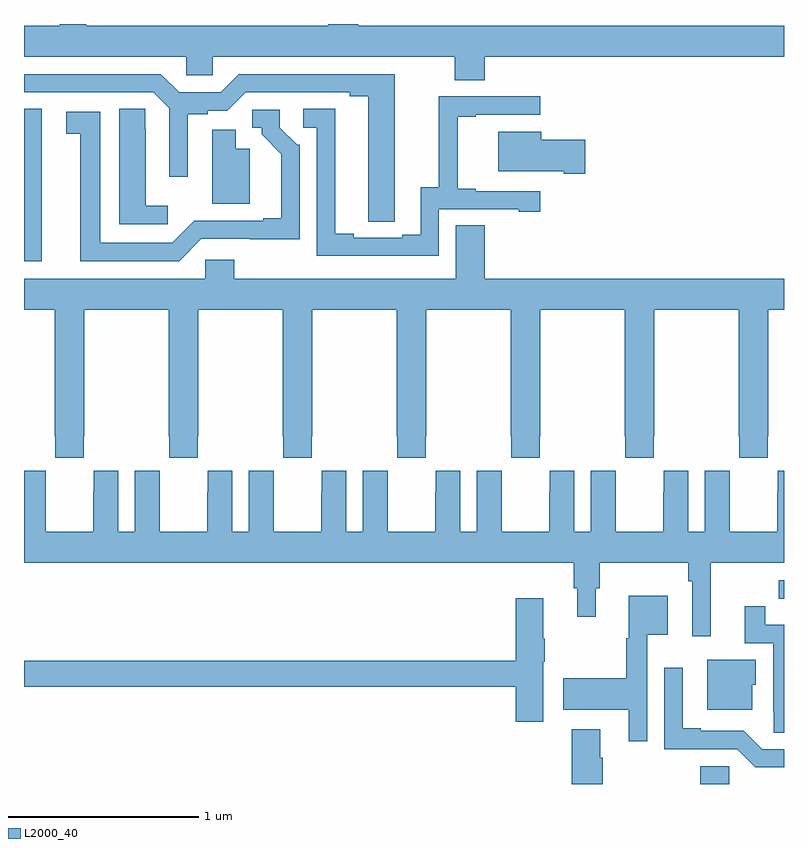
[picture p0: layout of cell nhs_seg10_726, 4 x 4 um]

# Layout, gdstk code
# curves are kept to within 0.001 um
import gdstk
lib = gdstk.Library(unit=1e-6, precision=1e-09)
def R(c, l, rs):  # rectangles x0, y0, x1, y1
    for r in rs: c.add(gdstk.rectangle(r[:2], r[2:], *l))
def P(c, l, *ps):  # polygons
    for p in ps: c.add(gdstk.Polygon(p, *l))
L2000_40 = (2000, 40)

nhs_seg10_726 = lib.new_cell('nhs_seg10_726')
R(nhs_seg10_726, L2000_40, [(150.56,1284.5,150.711,1284.594), (150.972,1285.476,151,1285.572), (147,1287.252,147.094,1288.054)])
P(nhs_seg10_726, L2000_40, [(149.426,1288.328),(151,1288.328),(151,1288.492),(148.76,1288.492),(148.76,1288.5),(148.6,1288.5),(148.6,1288.492),(147.327,1288.492),(147.327,1288.5),(147.189,1288.5),(147.189,1288.492),(147,1288.492),(147,1288.328),(147.855,1288.328),(147.855,1288.23),(147.993,1288.23),(147.993,1288.328),(149.266,1288.328),(149.266,1288.204),(149.426,1288.204)],
  [(148.95,1287.568),(148.951,1288.236),(148.131,1288.236),(148.035,1288.14),(147.817,1288.14),(147.721,1288.236),(147,1288.236),(147,1288.14),(147.681,1288.14),(147.765,1288.056),(147.765,1287.696),(147.862,1287.696),(147.862,1288.024),(147.966,1288.024),(147.966,1288.044),(148.071,1288.044),(148.167,1288.14),(148.715,1288.14),(148.715,1288.12),(148.811,1288.12),(148.811,1287.46),(148.95,1287.46)],
  [(149.184,1287.525),(149.603,1287.525),(149.603,1287.513),(149.716,1287.513),(149.716,1287.621),(149.377,1287.621),(149.377,1287.634),(149.282,1287.634),(149.282,1288.011),(149.377,1288.011),(149.377,1288.023),(149.716,1288.023),(149.716,1288.119),(149.182,1288.119),(149.182,1287.641),(149.087,1287.641),(149.087,1287.39),(148.991,1287.39),(148.991,1287.375),(148.735,1287.375),(148.735,1287.395),(148.639,1287.395),(148.639,1288.055),(148.47,1288.055),(148.47,1287.954),(148.542,1287.954),(148.542,1287.279),(149.184,1287.279)],
  [(147.757,1287.544),(147.64,1287.544),(147.64,1287.947),(147.639,1287.947),(147.639,1288.055),(147.5,1288.055),(147.5,1287.447),(147.757,1287.447)],
  [(147.933,1287.369),(148.452,1287.368),(148.452,1287.864),(148.437,1287.864),(148.347,1287.954),(148.347,1288.05),(148.2,1288.05),(148.2,1287.954),(148.25,1287.954),(148.25,1287.919),(148.355,1287.814),(148.355,1287.478),(148.259,1287.478),(148.259,1287.465),(147.897,1287.465),(147.78,1287.348),(147.4,1287.348),(147.4,1288.038),(147.222,1288.038),(147.222,1287.922),(147.296,1287.922),(147.296,1287.252),(147.816,1287.252)],
  [(148.189,1287.844),(148.114,1287.844),(148.114,1287.943),(147.992,1287.943),(147.992,1287.554),(148.189,1287.554)],
  [(149.953,1287.891),(149.722,1287.891),(149.722,1287.934),(149.495,1287.934),(149.495,1287.725),(149.84,1287.725),(149.84,1287.713),(149.953,1287.713)],
  [(147.315,1286.329),(147.318,1286.329),(147.318,1286.996),(147.763,1286.996),(147.763,1286.329),(147.765,1286.329),(147.765,1286.217),(147.915,1286.217),(147.915,1286.329),(147.918,1286.329),(147.918,1286.996),(148.363,1286.996),(148.363,1286.329),(148.365,1286.329),(148.365,1286.217),(148.515,1286.217),(148.515,1286.329),(148.518,1286.329),(148.518,1286.996),(148.963,1286.996),(148.963,1286.329),(148.965,1286.329),(148.965,1286.217),(149.115,1286.217),(149.115,1286.329),(149.118,1286.329),(149.118,1286.996),(149.563,1286.996),(149.563,1286.329),(149.565,1286.329),(149.565,1286.217),(149.715,1286.217),(149.715,1286.329),(149.718,1286.329),(149.718,1286.996),(150.163,1286.996),(150.163,1286.329),(150.165,1286.329),(150.165,1286.217),(150.315,1286.217),(150.315,1286.329),(150.318,1286.329),(150.318,1286.996),(150.763,1286.996),(150.763,1286.329),(150.765,1286.329),(150.765,1286.217),(150.915,1286.217),(150.915,1286.329),(150.918,1286.329),(150.918,1286.996),(151,1286.996),(151,1287.16),(149.426,1287.16),(149.426,1287.44),(149.273,1287.44),(149.273,1287.16),(148.106,1287.16),(148.106,1287.258),(147.954,1287.258),(147.954,1287.16),(147,1287.16),(147,1286.996),(147.163,1286.996),(147.163,1286.329),(147.165,1286.329),(147.165,1286.217),(147.315,1286.217)],
  [(149.893,1285.53),(149.912,1285.53),(149.912,1285.38),(150.01,1285.38),(150.01,1285.53),(150.029,1285.53),(150.029,1285.664),(150.496,1285.664),(150.496,1285.568),(150.516,1285.568),(150.516,1285.278),(150.614,1285.278),(150.614,1285.664),(151,1285.664),(151,1286.149),(150.966,1286.149),(150.966,1286.036),(150.965,1286.036),(150.965,1285.828),(150.715,1285.828),(150.715,1286.036),(150.714,1286.036),(150.714,1286.149),(150.584,1286.149),(150.584,1285.828),(150.496,1285.828),(150.496,1286.149),(150.366,1286.149),(150.366,1286.036),(150.365,1286.036),(150.365,1285.828),(150.115,1285.828),(150.115,1286.036),(150.114,1286.036),(150.114,1286.149),(149.984,1286.149),(149.984,1285.828),(149.896,1285.828),(149.896,1286.149),(149.766,1286.149),(149.766,1286.036),(149.765,1286.036),(149.765,1285.828),(149.515,1285.828),(149.515,1286.036),(149.514,1286.036),(149.514,1286.149),(149.384,1286.149),(149.384,1285.828),(149.296,1285.828),(149.296,1286.149),(149.166,1286.149),(149.166,1286.036),(149.165,1286.036),(149.165,1285.828),(148.915,1285.828),(148.915,1286.036),(148.914,1286.036),(148.914,1286.149),(148.784,1286.149),(148.784,1285.828),(148.696,1285.828),(148.696,1286.149),(148.566,1286.149),(148.566,1286.036),(148.565,1286.036),(148.565,1285.828),(148.315,1285.828),(148.315,1286.036),(148.314,1286.036),(148.314,1286.149),(148.184,1286.149),(148.184,1285.828),(148.096,1285.828),(148.096,1286.149),(147.966,1286.149),(147.966,1286.036),(147.965,1286.036),(147.965,1285.828),(147.715,1285.828),(147.715,1286.036),(147.714,1286.036),(147.714,1286.149),(147.584,1286.149),(147.584,1285.828),(147.496,1285.828),(147.496,1286.149),(147.366,1286.149),(147.366,1286.036),(147.365,1286.036),(147.365,1285.828),(147.115,1285.828),(147.115,1286.036),(147.114,1286.036),(147.114,1286.149),(147,1286.149),(147,1285.664),(149.893,1285.664)],
  [(150.279,1285.286),(150.388,1285.286),(150.388,1285.492),(150.182,1285.492),(150.182,1285.266),(150.171,1285.266),(150.171,1285.056),(149.838,1285.056),(149.838,1284.89),(150.182,1284.89),(150.182,1284.726),(150.279,1284.726)],
  [(149.734,1285.144),(149.742,1285.144),(149.742,1285.264),(149.734,1285.264),(149.734,1285.477),(149.588,1285.477),(149.588,1285.148),(147,1285.148),(147,1285.012),(149.588,1285.012),(149.588,1284.828),(149.734,1284.828)],
  [(151,1285.338),(150.902,1285.338),(150.902,1285.435),(150.794,1285.435),(150.794,1285.242),(150.944,1285.242),(150.944,1284.88),(150.945,1284.88),(150.945,1284.769),(151,1284.769)],
  [(150.832,1285.023),(150.85,1285.023),(150.85,1285.153),(150.596,1285.153),(150.596,1284.89),(150.832,1284.89)],
  [(151,1284.684),(150.885,1284.684),(150.789,1284.78),(150.562,1284.78),(150.562,1284.793),(150.466,1284.793),(150.466,1285.111),(150.369,1285.111),(150.369,1284.684),(150.753,1284.684),(150.849,1284.588),(151,1284.588)],
  [(150.047,1284.638),(150.034,1284.638),(150.034,1284.787),(149.882,1284.787),(149.882,1284.5),(150.047,1284.5)])

lib.write_gds('nhs_seg10_726.gds')
